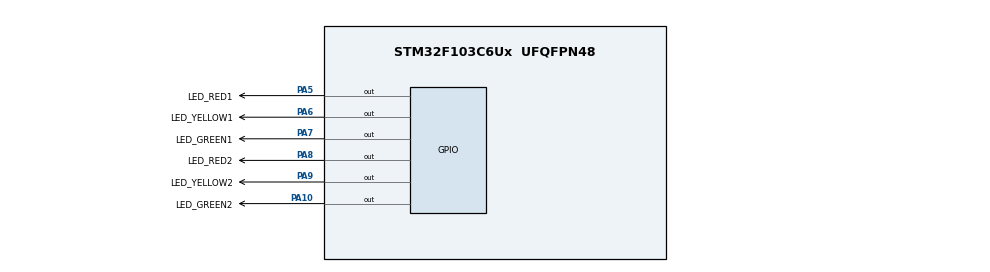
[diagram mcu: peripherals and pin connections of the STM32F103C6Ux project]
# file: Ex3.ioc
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Mcu.Family=STM32F1
Mcu.Name=STM32F103C6Ux
Mcu.Package=UFQFPN48
NVIC.PriorityGroup=NVIC_PRIORITYGROUP_4
PA10.GPIO_Label=LED_GREEN2
PA10.Signal=GPIO_Output
PA5.GPIO_Label=LED_RED1
PA5.Signal=GPIO_Output
PA6.GPIO_Label=LED_YELLOW1
PA6.Signal=GPIO_Output
PA7.GPIO_Label=LED_GREEN1
PA7.Signal=GPIO_Output
PA8.GPIO_Label=LED_RED2
PA8.Signal=GPIO_Output
PA9.GPIO_Label=LED_YELLOW2
PA9.Signal=GPIO_Output
ProjectManager.HeapSize=0x200
ProjectManager.StackSize=0x400
ProjectManager.TargetToolchain=STM32CubeIDE
RCC.APB1Freq_Value=8000000
RCC.APB2Freq_Value=8000000
VP_SYS_VS_ND.Mode=No_Debug
board=custom

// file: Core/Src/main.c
/* USER CODE BEGIN Header */
/**
  ******************************************************************************
  * @file           : main.c
  * @brief          : Main program body
  ******************************************************************************
  * @attention
  *
  * <h2><center>&copy; Copyright (c) 2023 STMicroelectronics.
  * All rights reserved.</center></h2>
  *
  * This software component is licensed by ST under BSD 3-Clause license,
  * the "License"; You may not use this file except in compliance with the
  * License. You may obtain a copy of the License at:
  *                        opensource.org/licenses/BSD-3-Clause
  *
  ******************************************************************************
  */
/* USER CODE END Header */
#include "main.h"

void SystemClock_Config(void);
static void MX_GPIO_Init(void);

int main(void)
{

  /* MCU Configuration--------------------------------------------------------*/

  /* Reset of all peripherals, Initializes the Flash interface and the Systick. */
  HAL_Init();

  /* Configure the system clock */
  SystemClock_Config();

  /* Initialize all configured peripherals */
  MX_GPIO_Init();

  /* Infinite loop */
  /* USER CODE BEGIN WHILE */
  enum TrafficLightState
  {
	  RED1_GREEN2,
	  RED1_YELLOW2,
	  GREEN1_RED2,
	  YELLOW1_RED2,
  };
  //Initialize the current state of the traffic light
  int counter = 3;
  enum TrafficLightState currentState = RED1_GREEN2;
  //Set all LEDs off
  HAL_GPIO_WritePin(LED_RED1_GPIO_Port, LED_RED1_Pin, RESET);
  HAL_GPIO_WritePin(LED_YELLOW1_GPIO_Port, LED_YELLOW1_Pin, RESET);
  HAL_GPIO_WritePin(LED_GREEN1_GPIO_Port, LED_GREEN1_Pin, RESET);
  HAL_GPIO_WritePin(LED_RED2_GPIO_Port, LED_RED2_Pin, RESET);
  HAL_GPIO_WritePin(LED_YELLOW2_GPIO_Port, LED_YELLOW2_Pin, RESET);
  HAL_GPIO_WritePin(LED_GREEN2_GPIO_Port, LED_GREEN2_Pin, RESET);

  while (1)
  {
	switch (currentState)
	{
		case RED1_GREEN2:
			HAL_GPIO_WritePin(LED_RED1_GPIO_Port, LED_RED1_Pin, SET);
			HAL_GPIO_WritePin(LED_GREEN2_GPIO_Port, LED_GREEN2_Pin, SET);
			HAL_GPIO_WritePin(LED_YELLOW1_GPIO_Port, LED_YELLOW1_Pin, RESET);
			HAL_GPIO_WritePin(LED_RED2_GPIO_Port, LED_RED2_Pin, RESET);
			counter--;
			if (counter <= 0)
			{
				currentState = RED1_YELLOW2;
				counter = 2;
			}
			break;
		case RED1_YELLOW2:
			HAL_GPIO_WritePin(LED_GREEN2_GPIO_Port, LED_GREEN2_Pin, RESET);
			HAL_GPIO_WritePin(LED_YELLOW2_GPIO_Port, LED_YELLOW2_Pin, SET);
			counter--;
			if (counter <= 0)
			{
				currentState = GREEN1_RED2;
				counter = 3;
			}
			break;
		case GREEN1_RED2:
			HAL_GPIO_WritePin(LED_RED1_GPIO_Port, LED_RED1_Pin, RESET);
			HAL_GPIO_WritePin(LED_GREEN1_GPIO_Port, LED_GREEN1_Pin, SET);
			HAL_GPIO_WritePin(LED_YELLOW2_GPIO_Port, LED_YELLOW2_Pin, RESET);
			HAL_GPIO_WritePin(LED_RED2_GPIO_Port, LED_RED2_Pin, SET);
			counter--;
			if (counter <= 0)
			{
				currentState = YELLOW1_RED2;
				counter = 2;
			}
			break;
		case YELLOW1_RED2:
			HAL_GPIO_WritePin(LED_GREEN1_GPIO_Port, LED_GREEN1_Pin, RESET);
			HAL_GPIO_WritePin(LED_YELLOW1_GPIO_Port, LED_YELLOW1_Pin, SET);
			counter--;
			if (counter <= 0)
			{
				currentState = RED1_GREEN2;
				counter = 3;
			}
			break;
	}
	HAL_Delay(1000);
    /* USER CODE END WHILE */

  }
}

void SystemClock_Config(void)
{
  RCC_OscInitTypeDef RCC_OscInitStruct = {0};
  RCC_ClkInitTypeDef RCC_ClkInitStruct = {0};

  /** Initializes the RCC Oscillators according to the specified parameters
  * in the RCC_OscInitTypeDef structure.
  */
  RCC_OscInitStruct.OscillatorType = RCC_OSCILLATORTYPE_HSI;
  RCC_OscInitStruct.HSIState = RCC_HSI_ON;
  RCC_OscInitStruct.HSICalibrationValue = RCC_HSICALIBRATION_DEFAULT;
  RCC_OscInitStruct.PLL.PLLState = RCC_PLL_NONE;
  if (HAL_RCC_OscConfig(&RCC_OscInitStruct) != HAL_OK)
  {
    Error_Handler();
  }
  /** Initializes the CPU, AHB and APB buses clocks
  */
  RCC_ClkInitStruct.ClockType = RCC_CLOCKTYPE_HCLK|RCC_CLOCKTYPE_SYSCLK
                              |RCC_CLOCKTYPE_PCLK1|RCC_CLOCKTYPE_PCLK2;
  RCC_ClkInitStruct.SYSCLKSource = RCC_SYSCLKSOURCE_HSI;
  RCC_ClkInitStruct.AHBCLKDivider = RCC_SYSCLK_DIV1;
  RCC_ClkInitStruct.APB1CLKDivider = RCC_HCLK_DIV1;
  RCC_ClkInitStruct.APB2CLKDivider = RCC_HCLK_DIV1;

  if (HAL_RCC_ClockConfig(&RCC_ClkInitStruct, FLASH_LATENCY_0) != HAL_OK)
  {
    Error_Handler();
  }
}

static void MX_GPIO_Init(void)
{
  GPIO_InitTypeDef GPIO_InitStruct = {0};

  /* GPIO Ports Clock Enable */
  __HAL_RCC_GPIOA_CLK_ENABLE();

  /*Configure GPIO pin Output Level */
  HAL_GPIO_WritePin(GPIOA, LED_RED1_Pin|LED_YELLOW1_Pin|LED_GREEN1_Pin|LED_RED2_Pin
                          |LED_YELLOW2_Pin|LED_GREEN2_Pin, GPIO_PIN_RESET);

  /*Configure GPIO pins : LED_RED1_Pin LED_YELLOW1_Pin LED_GREEN1_Pin LED_RED2_Pin
                           LED_YELLOW2_Pin LED_GREEN2_Pin */
  GPIO_InitStruct.Pin = LED_RED1_Pin|LED_YELLOW1_Pin|LED_GREEN1_Pin|LED_RED2_Pin
                          |LED_YELLOW2_Pin|LED_GREEN2_Pin;
  GPIO_InitStruct.Mode = GPIO_MODE_OUTPUT_PP;
  GPIO_InitStruct.Pull = GPIO_NOPULL;
  GPIO_InitStruct.Speed = GPIO_SPEED_FREQ_LOW;
  HAL_GPIO_Init(GPIOA, &GPIO_InitStruct);

}

void Error_Handler(void)
{
  __disable_irq();
  while (1)
  {
  }
}

/************************ (C) COPYRIGHT STMicroelectronics *****END OF FILE****/
